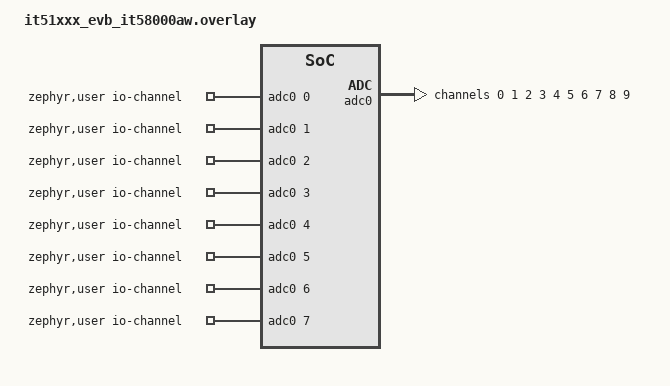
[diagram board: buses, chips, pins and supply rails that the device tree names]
/*
 * Copyright (c) 2026 ITE Corporation. All Rights Reserved.
 *
 * SPDX-License-Identifier: Apache-2.0
 */

/ {
	zephyr,user {
		io-channels = <&adc0 0>, <&adc0 1>, <&adc0 2>, <&adc0 3>,
			      <&adc0 4>, <&adc0 5>, <&adc0 6>, <&adc0 7>,
			      <&adc0 8>, <&adc0 9>;
	};
};

&adc0 {
	#address-cells = <1>;
	#size-cells = <0>;

	pinctrl-0 = <&adc0_ch0_gpi0_default &adc0_ch1_gpi1_default
		     &adc0_ch2_gpi2_default &adc0_ch3_gpi3_default
		     &adc0_ch4_gpi4_default &adc0_ch5_gpi5_default
		     &adc0_ch6_gpi6_default &adc0_ch7_gpi7_default
		     &adc8_ch8_gpj0_default &adc9_ch9_gpj1_default>;
	pinctrl-names = "default";

	channel@0 {
		reg = <0>;
		zephyr,gain = "ADC_GAIN_1";
		zephyr,reference = "ADC_REF_INTERNAL";
		zephyr,acquisition-time = <ADC_ACQ_TIME_DEFAULT>;
		zephyr,resolution = <12>;
	};

	channel@1 {
		reg = <1>;
		zephyr,gain = "ADC_GAIN_1";
		zephyr,reference = "ADC_REF_INTERNAL";
		zephyr,acquisition-time = <ADC_ACQ_TIME_DEFAULT>;
		zephyr,resolution = <12>;
	};

	channel@2 {
		reg = <2>;
		zephyr,gain = "ADC_GAIN_1";
		zephyr,reference = "ADC_REF_INTERNAL";
		zephyr,acquisition-time = <ADC_ACQ_TIME_DEFAULT>;
		zephyr,resolution = <12>;
	};

	channel@3 {
		reg = <3>;
		zephyr,gain = "ADC_GAIN_1";
		zephyr,reference = "ADC_REF_INTERNAL";
		zephyr,acquisition-time = <ADC_ACQ_TIME_DEFAULT>;
		zephyr,resolution = <12>;
	};

	channel@4 {
		reg = <4>;
		zephyr,gain = "ADC_GAIN_1";
		zephyr,reference = "ADC_REF_INTERNAL";
		zephyr,acquisition-time = <ADC_ACQ_TIME_DEFAULT>;
		zephyr,resolution = <12>;
	};

	channel@5 {
		reg = <5>;
		zephyr,gain = "ADC_GAIN_1";
		zephyr,reference = "ADC_REF_INTERNAL";
		zephyr,acquisition-time = <ADC_ACQ_TIME_DEFAULT>;
		zephyr,resolution = <12>;
	};

	channel@6 {
		reg = <6>;
		zephyr,gain = "ADC_GAIN_1";
		zephyr,reference = "ADC_REF_INTERNAL";
		zephyr,acquisition-time = <ADC_ACQ_TIME_DEFAULT>;
		zephyr,resolution = <12>;
	};

	channel@7 {
		reg = <7>;
		zephyr,gain = "ADC_GAIN_1";
		zephyr,reference = "ADC_REF_INTERNAL";
		zephyr,acquisition-time = <ADC_ACQ_TIME_DEFAULT>;
		zephyr,resolution = <12>;
	};

	channel@8 {
		reg = <8>;
		zephyr,gain = "ADC_GAIN_1";
		zephyr,reference = "ADC_REF_INTERNAL";
		zephyr,acquisition-time = <ADC_ACQ_TIME_DEFAULT>;
		zephyr,resolution = <12>;
	};

	channel@9 {
		reg = <9>;
		zephyr,gain = "ADC_GAIN_1";
		zephyr,reference = "ADC_REF_INTERNAL";
		zephyr,acquisition-time = <ADC_ACQ_TIME_DEFAULT>;
		zephyr,resolution = <12>;
	};
};
